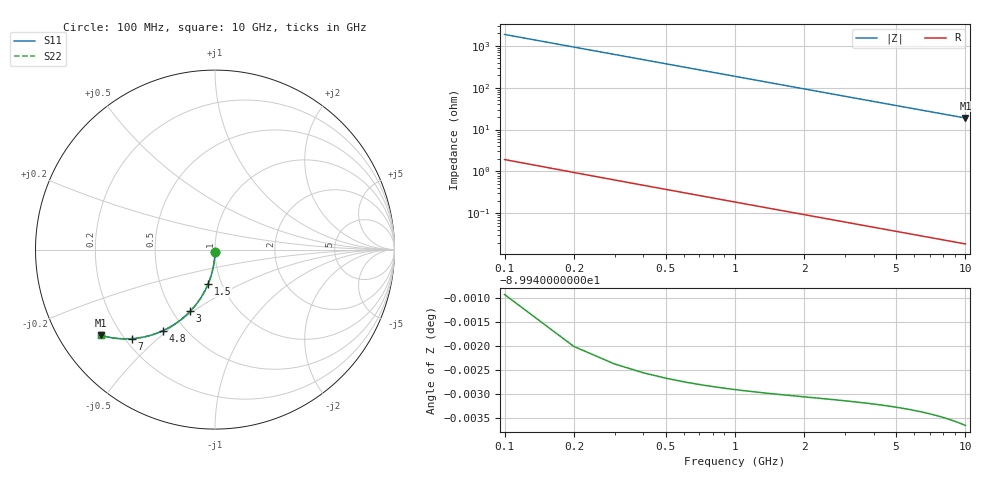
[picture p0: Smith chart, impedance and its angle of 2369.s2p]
# Hz S RI R 50.00
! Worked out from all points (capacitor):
!   100 points, 100 MHz to 10 GHz, reference 50 ohm
!   read as one part in shunt: C = 852 fF near 100 MHz
!   lowest |Z| = 18.9 ohm at 10 GHz (marker M1)
!   S11 on the Smith chart (normalised r, x): 100 MHz: 1.00, -0.03; 1.5 GHz: 0.86, -0.34; 3 GHz: 0.61, -0.49; 4.8 GHz: 0.38, -0.48; 7 GHz: 0.23, -0.42; 10 GHz: 0.13, -0.33
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1e8  -0.000183 -0.0133  0.9998 -0.0134  0.9998 -0.0134  -0.000183 -0.0133
2e8  -0.000733 -0.0267  0.9992 -0.0268  0.9992 -0.0268  -0.000733 -0.0267
3e8  -0.00164 -0.04  0.9983 -0.0402  0.9983 -0.0402  -0.00164 -0.04
4e8  -0.0029 -0.0532  0.9971 -0.0535  0.9971 -0.0535  -0.0029 -0.0532
5e8  -0.00451 -0.0664  0.9955 -0.0667  0.9955 -0.0667  -0.00451 -0.0664
6e8  -0.00647 -0.0795  0.9935 -0.0799  0.9935 -0.0799  -0.00647 -0.0795
7e8  -0.00877 -0.0926  0.9912 -0.093  0.9912 -0.093  -0.00877 -0.0926
9e8  -0.0144 -0.1183  0.9856 -0.1189  0.9856 -0.1189  -0.0144 -0.1183
1.2e9  -0.0252 -0.156  0.9747 -0.1567  0.9747 -0.1567  -0.0252 -0.156
1.5e9  -0.0388 -0.1922  0.9612 -0.1931  0.9612 -0.1931  -0.0388 -0.1922
1.8e9  -0.0549 -0.2267  0.9451 -0.2278  0.9451 -0.2278  -0.0549 -0.2267
2.4e9  -0.0934 -0.2898  0.9066 -0.2912  0.9066 -0.2912  -0.0934 -0.2898
3e9  -0.1384 -0.3439  0.8616 -0.3458  0.8616 -0.3458  -0.1384 -0.3439
3.4e9  -0.1709 -0.3749  0.8291 -0.377  0.8291 -0.377  -0.1709 -0.3749
4.1e9  -0.2303 -0.4193  0.7697 -0.4218  0.7697 -0.4218  -0.2303 -0.4193
4.8e9  -0.2904 -0.452  0.7096 -0.4549  0.7096 -0.4549  -0.2904 -0.452
5.1e9  -0.3159 -0.4628  0.6841 -0.4659  0.6841 -0.4659  -0.3159 -0.4628
5.9e9  -0.3815 -0.4834  0.6185 -0.4871  0.6185 -0.4871  -0.3815 -0.4834
6.7e9  -0.4426 -0.4941  0.5574 -0.4983  0.5574 -0.4983  -0.4426 -0.4941
7e9  -0.4641 -0.496  0.5359 -0.5004  0.5359 -0.5004  -0.4641 -0.496
8.4e9  -0.5543 -0.4939  0.4456 -0.4992  0.4456 -0.4992  -0.5543 -0.4939
1e10  -0.6374 -0.4771  0.3625 -0.4834  0.3625 -0.4834  -0.6374 -0.4771
